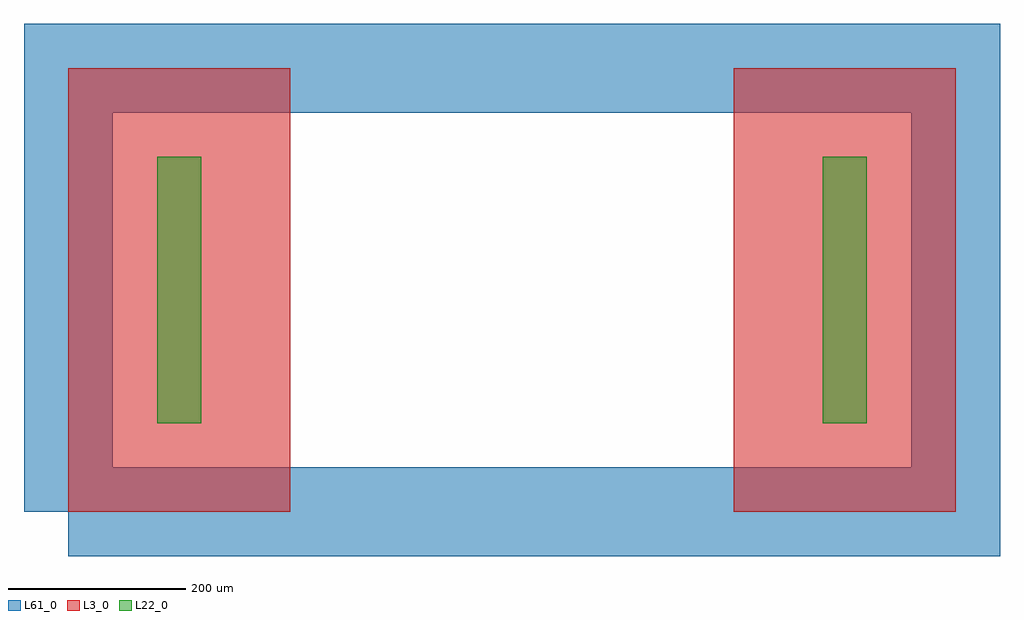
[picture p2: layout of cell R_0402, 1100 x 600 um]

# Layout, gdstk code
import gdstk
lib = gdstk.Library(unit=1e-6, precision=1e-09)
def R(c, l, rs):  # rectangles x0, y0, x1, y1
    for r in rs: c.add(gdstk.rectangle(r[:2], r[2:], *l))
L3_0 = (3, 0)
L22_0 = (22, 0)
L61_0 = (61, 0)

r_0402 = lib.new_cell('R_0402')
R(r_0402, L3_0, [(-500,-250,-250,250), (250,-250,500,250)])
R(r_0402, L22_0, [(-400,-150,-350,150), (350,-150,400,150)])
r_0402.add(gdstk.FlexPath([(-500,-250),(500,-250),(500,250),(-500,250),(-500,-250)], 100, ends="flush", simple_path=True, layer=61, datatype=0))  # L61_0

lib.write_gds('R_0402.gds')
